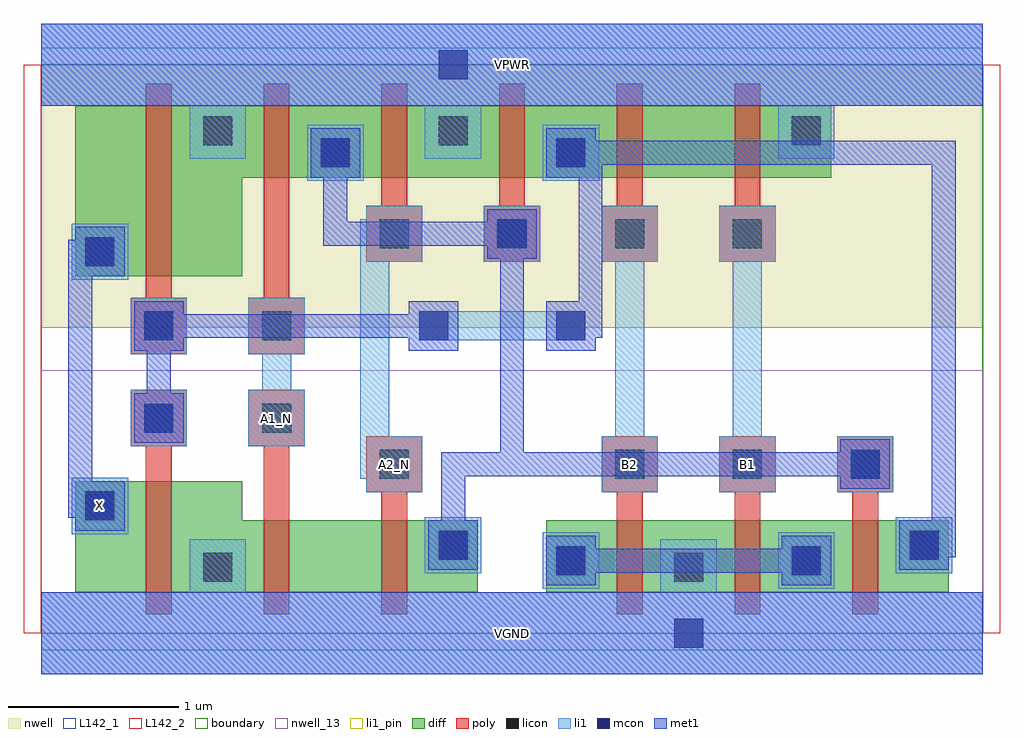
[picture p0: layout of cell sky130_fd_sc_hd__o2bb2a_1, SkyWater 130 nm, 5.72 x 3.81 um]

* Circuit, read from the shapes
.subckt sky130_fd_sc_hd__o2bb2a_1 A1_N A2_N B1 B2 VGND VPWR X
XM1 VGND n1 X VSUBS sky130_fd_pr__nfet_01v8 w=0.65 l=0.15
XM2 n2 A1_N VGND VSUBS sky130_fd_pr__nfet_01v8 w=0.42 l=0.15
XM3 n3 A2_N n2 VSUBS sky130_fd_pr__nfet_01v8 w=0.42 l=0.15
XM4 VGND B2 n4 VSUBS sky130_fd_pr__nfet_01v8 w=0.42 l=0.15
XM5 n4 B1 VGND VSUBS sky130_fd_pr__nfet_01v8 w=0.42 l=0.15
XM6 n1 n3 n4 VSUBS sky130_fd_pr__nfet_01v8 w=0.42 l=0.15
XM7 VPWR n1 X n5 sky130_fd_pr__pfet_01v8 w=1 l=0.15
XM8 n3 A1_N VPWR n5 sky130_fd_pr__pfet_01v8 w=0.42 l=0.15
XM9 VPWR A2_N n3 n5 sky130_fd_pr__pfet_01v8 w=0.42 l=0.15
XM10 n1 n3 VPWR n5 sky130_fd_pr__pfet_01v8 w=0.42 l=0.15
XM11 n6 B2 n1 n5 sky130_fd_pr__pfet_01v8 w=0.42 l=0.15
XM12 VPWR B1 n6 n5 sky130_fd_pr__pfet_01v8 w=0.42 l=0.15
.ends

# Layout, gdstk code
import gdstk
lib = gdstk.Library(unit=1e-6, precision=1e-09)
def R(c, l, rs):  # rectangles x0, y0, x1, y1
    for r in rs: c.add(gdstk.rectangle(r[:2], r[2:], *l))
def A(c, l, x, y, w, h, nx, ny, dx, dy):  # array of equal rectangles
    R(c, l, [(x+i*dx, y+j*dy, x+i*dx+w, y+j*dy+h) for i in range(nx) for j in range(ny)])
def P(c, l, *ps):  # polygons
    for p in ps: c.add(gdstk.Polygon(p, *l))
nwell_13 = (64, 13)
nwell = (64, 20)
diff = (65, 20)
poly = (66, 20)
licon = (66, 44)
li1_pin = (67, 16)
li1 = (67, 20)
mcon = (67, 44)
met1 = (68, 20)
L142_1 = (142, 1)
L142_2 = (142, 2)
boundary = (235, 4)

sky130_fd_sc_hd__o2bb2a_ = lib.new_cell('sky130_fd_sc_hd__o2bb2a_1')
R(sky130_fd_sc_hd__o2bb2a_, nwell_13, [(0,0,5.52,1.54)])
R(sky130_fd_sc_hd__o2bb2a_, nwell, [(0,1.79,5.52,3.33)])
A(sky130_fd_sc_hd__o2bb2a_, diff, 1.305, 2.67, 0.69, 0.42, 4, 1, 0.69, 0)
R(sky130_fd_sc_hd__o2bb2a_, diff, [(0.2,0.24,0.615,0.89), (1.305,0.24,1.995,0.66), (1.995,0.24,2.56,0.66), (2.96,0.24,5.32,0.66), (2.96,0.24,3.375,0.66), (3.375,0.24,4.065,0.66), (4.065,0.24,4.755,0.66), (4.755,0.24,5.32,0.66), (0.2,2.09,0.615,3.09), (4.065,2.67,4.63,3.09)])
P(sky130_fd_sc_hd__o2bb2a_, diff, [(0.2,0.24),(0.2,0.89),(1.18,0.89),(1.18,0.66),(2.56,0.66),(2.56,0.24)],
  [(0.615,0.24),(0.615,0.89),(1.18,0.89),(1.18,0.66),(1.305,0.66),(1.305,0.24)],
  [(0.2,2.09),(0.2,3.09),(4.63,3.09),(4.63,2.67),(1.18,2.67),(1.18,2.09)],
  [(0.615,2.09),(0.615,3.09),(1.305,3.09),(1.305,2.67),(1.18,2.67),(1.18,2.09)])
P(sky130_fd_sc_hd__o2bb2a_, poly, [(3.375,0.11),(3.375,0.825),(3.285,0.825),(3.285,1.155),(3.615,1.155),(3.615,0.825),(3.525,0.825),(3.525,0.11)],
  [(3.285,2.175),(3.285,2.505),(3.375,2.505),(3.375,3.22),(3.525,3.22),(3.525,2.505),(3.615,2.505),(3.615,2.175)],
  [(0.615,0.11),(0.615,1.095),(0.525,1.095),(0.525,1.425),(0.855,1.425),(0.855,1.095),(0.765,1.095),(0.765,0.11)],
  [(0.525,1.635),(0.525,1.965),(0.615,1.965),(0.615,3.22),(0.765,3.22),(0.765,1.965),(0.855,1.965),(0.855,1.635)],
  [(1.995,0.11),(1.995,0.825),(1.905,0.825),(1.905,1.155),(2.235,1.155),(2.235,0.825),(2.145,0.825),(2.145,0.11)],
  [(1.905,2.175),(1.905,2.505),(1.995,2.505),(1.995,3.22),(2.145,3.22),(2.145,2.505),(2.235,2.505),(2.235,2.175)],
  [(4.065,0.11),(4.065,0.825),(3.975,0.825),(3.975,1.155),(4.305,1.155),(4.305,0.825),(4.215,0.825),(4.215,0.11)],
  [(3.975,2.175),(3.975,2.505),(4.065,2.505),(4.065,3.22),(4.215,3.22),(4.215,2.505),(4.305,2.505),(4.305,2.175)],
  [(1.305,0.11),(1.305,1.095),(1.215,1.095),(1.215,1.425),(1.545,1.425),(1.545,1.095),(1.455,1.095),(1.455,0.11)],
  [(1.215,1.635),(1.215,1.965),(1.305,1.965),(1.305,3.22),(1.455,3.22),(1.455,1.965),(1.545,1.965),(1.545,1.635)],
  [(4.755,0.11),(4.755,0.825),(4.665,0.825),(4.665,1.155),(4.995,1.155),(4.995,0.825),(4.905,0.825),(4.905,0.11)],
  [(2.595,2.175),(2.595,2.505),(2.685,2.505),(2.685,3.22),(2.835,3.22),(2.835,2.505),(2.925,2.505),(2.925,2.175)])
A(sky130_fd_sc_hd__o2bb2a_, licon, 3.365, 0.905, 0.17, 0.17, 3, 1, 0.69, 0)
A(sky130_fd_sc_hd__o2bb2a_, licon, 1.985, 2.255, 0.17, 0.17, 4, 1, 0.69, 0)
R(sky130_fd_sc_hd__o2bb2a_, licon, [(0.95,0.3,1.12,0.47), (3.71,0.3,3.88,0.47), (3.02,0.34,3.19,0.51), (4.4,0.34,4.57,0.51), (2.33,0.43,2.5,0.6), (5.09,0.43,5.26,0.6), (0.26,0.66,0.43,0.83), (1.985,0.905,2.155,1.075), (0.605,1.175,0.775,1.345), (1.295,1.175,1.465,1.345), (0.605,1.715,0.775,1.885), (1.295,1.715,1.465,1.885), (0.26,2.15,0.43,2.32), (1.64,2.73,1.81,2.9), (3.02,2.73,3.19,2.9), (0.95,2.86,1.12,3.03), (2.33,2.86,2.5,3.03), (4.4,2.86,4.57,3.03)])
R(sky130_fd_sc_hd__o2bb2a_, li1_pin, [(0,-0.24,5.52,0.24), (0.18,0.58,0.51,0.91), (0,3.09,5.52,3.57)])
P(sky130_fd_sc_hd__o2bb2a_, li1_pin, [(1.905,0.825),(1.905,0.905),(1.87,0.905),(1.87,2.425),(1.905,2.425),(1.905,2.505),(2.235,2.505),(2.235,2.175),(2.04,2.175),(2.04,1.155),(2.235,1.155),(2.235,0.825)],
  [(3.285,0.825),(3.285,1.155),(3.365,1.155),(3.365,2.175),(3.285,2.175),(3.285,2.505),(3.615,2.505),(3.615,2.175),(3.535,2.175),(3.535,1.155),(3.615,1.155),(3.615,0.825)],
  [(1.215,1.095),(1.215,1.425),(1.295,1.425),(1.295,1.635),(1.215,1.635),(1.215,1.965),(1.545,1.965),(1.545,1.635),(1.465,1.635),(1.465,1.425),(1.545,1.425),(1.545,1.095)],
  [(3.975,0.825),(3.975,1.155),(4.055,1.155),(4.055,2.175),(3.975,2.175),(3.975,2.505),(4.305,2.505),(4.305,2.175),(4.225,2.175),(4.225,1.155),(4.305,1.155),(4.305,0.825)])
R(sky130_fd_sc_hd__o2bb2a_, li1, [(2.94,0.26,3.27,0.59), (4.32,0.26,4.65,0.59), (2.25,0.35,2.58,0.68), (5.01,0.35,5.34,0.68), (0.18,0.58,0.51,0.91), (4.665,0.825,4.995,1.155), (0.525,1.095,0.855,1.425), (0.525,1.635,0.855,1.965), (2.215,1.715,3.19,1.885), (0.18,2.07,0.51,2.4), (2.595,2.175,2.925,2.505), (1.56,2.65,1.89,2.98), (2.94,2.65,3.27,2.98)])
P(sky130_fd_sc_hd__o2bb2a_, li1, [(3.285,0.825),(3.285,1.155),(3.365,1.155),(3.365,2.175),(3.285,2.175),(3.285,2.505),(3.615,2.505),(3.615,2.175),(3.535,2.175),(3.535,1.155),(3.615,1.155),(3.615,0.825)],
  [(0.87,2.78),(0.87,3.09),(0,3.09),(0,3.57),(5.52,3.57),(5.52,3.09),(4.65,3.09),(4.65,2.78),(4.32,2.78),(4.32,3.09),(2.58,3.09),(2.58,2.78),(2.25,2.78),(2.25,3.09),(1.2,3.09),(1.2,2.78)],
  [(0,-0.24),(0,0.24),(0.87,0.24),(0.87,0.55),(1.2,0.55),(1.2,0.24),(3.63,0.24),(3.63,0.55),(3.96,0.55),(3.96,0.24),(5.52,0.24),(5.52,-0.24)],
  [(1.905,0.825),(1.905,0.905),(1.87,0.905),(1.87,2.425),(1.905,2.425),(1.905,2.505),(2.235,2.505),(2.235,2.175),(2.04,2.175),(2.04,1.155),(2.235,1.155),(2.235,0.825)],
  [(3.975,0.825),(3.975,1.155),(4.055,1.155),(4.055,2.175),(3.975,2.175),(3.975,2.505),(4.305,2.505),(4.305,2.175),(4.225,2.175),(4.225,1.155),(4.305,1.155),(4.305,0.825)],
  [(1.215,1.095),(1.215,1.425),(1.295,1.425),(1.295,1.635),(1.215,1.635),(1.215,1.965),(1.545,1.965),(1.545,1.635),(1.465,1.635),(1.465,1.425),(1.545,1.425),(1.545,1.095)])
R(sky130_fd_sc_hd__o2bb2a_, mcon, [(3.71,-0.085,3.88,0.085), (3.02,0.34,3.19,0.51), (4.4,0.34,4.57,0.51), (2.33,0.43,2.5,0.6), (5.09,0.43,5.26,0.6), (0.26,0.66,0.43,0.83), (4.745,0.905,4.915,1.075), (0.605,1.175,0.775,1.345), (0.605,1.715,0.775,1.885), (2.215,1.715,2.385,1.885), (3.02,1.715,3.19,1.885), (0.26,2.15,0.43,2.32), (2.675,2.255,2.845,2.425), (1.64,2.73,1.81,2.9), (3.02,2.73,3.19,2.9), (2.33,3.245,2.5,3.415)])
R(sky130_fd_sc_hd__o2bb2a_, met1, [(0,-0.24,5.52,0.24), (0,3.09,5.52,3.57)])
P(sky130_fd_sc_hd__o2bb2a_, met1, [(0.545,1.115),(0.545,1.405),(0.62,1.405),(0.62,1.655),(0.545,1.655),(0.545,1.945),(0.835,1.945),(0.835,1.87),(2.155,1.87),(2.155,1.945),(2.445,1.945),(2.445,1.655),(2.155,1.655),(2.155,1.73),(0.835,1.73),(0.835,1.655),(0.76,1.655),(0.76,1.405),(0.835,1.405),(0.835,1.115)],
  [(5.03,0.37),(5.03,0.66),(5.22,0.66),(5.22,2.745),(3.29,2.745),(3.29,1.73),(3.25,1.73),(3.25,1.655),(2.96,1.655),(2.96,1.945),(3.15,1.945),(3.15,2.67),(2.96,2.67),(2.96,2.96),(3.25,2.96),(3.25,2.885),(5.36,2.885),(5.36,0.445),(5.32,0.445),(5.32,0.37)],
  [(2.96,0.28),(2.96,0.57),(3.25,0.57),(3.25,0.495),(4.34,0.495),(4.34,0.57),(4.63,0.57),(4.63,0.28),(4.34,0.28),(4.34,0.355),(3.25,0.355),(3.25,0.28)],
  [(0.2,0.6),(0.2,0.675),(0.16,0.675),(0.16,2.305),(0.2,2.305),(0.2,2.38),(0.49,2.38),(0.49,2.09),(0.3,2.09),(0.3,0.89),(0.49,0.89),(0.49,0.6)],
  [(2.27,0.37),(2.27,0.66),(2.345,0.66),(2.345,1.06),(2.69,1.06),(2.69,2.195),(2.615,2.195),(2.615,2.27),(1.655,2.27),(1.655,2.67),(1.58,2.67),(1.58,2.96),(1.87,2.96),(1.87,2.67),(1.795,2.67),(1.795,2.41),(2.615,2.41),(2.615,2.485),(2.905,2.485),(2.905,2.195),(2.83,2.195),(2.83,1.06),(4.685,1.06),(4.685,1.135),(4.975,1.135),(4.975,0.845),(4.685,0.845),(4.685,0.92),(2.485,0.92),(2.485,0.66),(2.56,0.66),(2.56,0.37)])
R(sky130_fd_sc_hd__o2bb2a_, L142_1, [(0,-0.1,5.52,0), (0,3.33,5.52,3.43)])
R(sky130_fd_sc_hd__o2bb2a_, L142_2, [(-0.1,0,0,3.33), (5.52,0,5.62,3.33)])
R(sky130_fd_sc_hd__o2bb2a_, boundary, [(0,0,5.52,3.33)])
sky130_fd_sc_hd__o2bb2a_.add(gdstk.Label('X', (0.345,0.745), layer=67, texttype=5))
sky130_fd_sc_hd__o2bb2a_.add(gdstk.Label('A2_N', (2.07,0.99), layer=67, texttype=5))
sky130_fd_sc_hd__o2bb2a_.add(gdstk.Label('B2', (3.45,0.99), layer=67, texttype=5))
sky130_fd_sc_hd__o2bb2a_.add(gdstk.Label('A1_N', (1.38,1.26), layer=67, texttype=5))
sky130_fd_sc_hd__o2bb2a_.add(gdstk.Label('B1', (4.14,0.99), layer=67, texttype=5))
sky130_fd_sc_hd__o2bb2a_.add(gdstk.Label('VGND', (2.76,0), layer=67, texttype=5))
sky130_fd_sc_hd__o2bb2a_.add(gdstk.Label('VPWR', (2.76,3.33), layer=67, texttype=5))
sky130_fd_sc_hd__o2bb2a_.add(gdstk.Label('VGND', (2.76,0), layer=68, texttype=5))
sky130_fd_sc_hd__o2bb2a_.add(gdstk.Label('VPWR', (2.76,3.33), layer=68, texttype=5))

lib.write_gds('sky130_fd_sc_hd__o2bb2a_1.gds')
